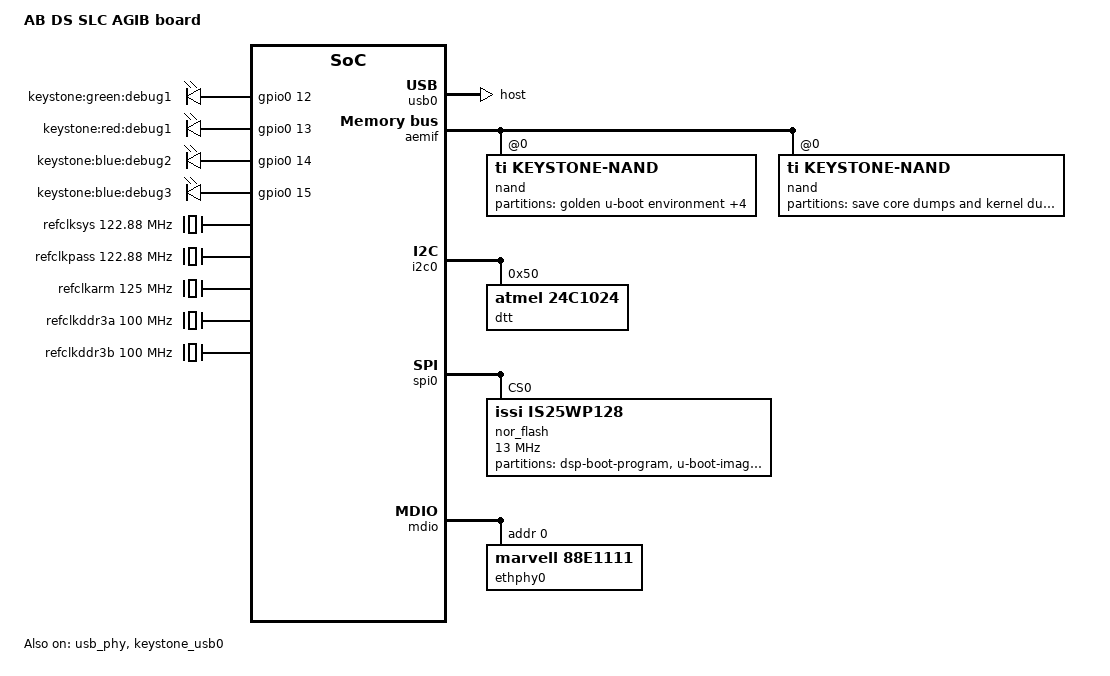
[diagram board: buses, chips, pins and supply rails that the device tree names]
// SPDX-License-Identifier: GPL-2.0
/*
 * Keystone 2 Kepler/Hawking EVM device tree
 *
 * Copyright (C) 2013-2017 Texas Instruments Incorporated - http://www.ti.com/
 */
/dts-v1/;

#include "keystone.dtsi"
#include "keystone-agib.dtsi"
#include <dt-bindings/net/ti-dp83867.h>
#include "agib-rapidio.dtsi"
#include "agib-bmuqt.dtsi"
#include "agib-lasc.dtsi"
#include "agib-tpm.dtsi"
#include "agib-rtc.dtsi"
#include "agib-reset.dtsi"
#include "agib-vgem.dtsi"

/ {
	compatible =  "ti,k2hk-evm", "ti,k2hk", "ti,keystone";
	model = "AB DS SLC AGIB board";

	reserved-memory {
		#address-cells = <2>;
		#size-cells = <2>;
		ranges;

		dsp_common_memory: dsp-common-memory@81f800000 {
			compatible = "shared-dma-pool";
			reg = <0x00000008 0x1f800000 0x00000000 0x800000>;
			reusable;
			status = "okay";
		};
	};

	leds {
		compatible = "gpio-leds";
		debug1_1 {
			label = "keystone:green:debug1";
			gpios = <&gpio0 12 GPIO_ACTIVE_HIGH>; /* 12 */
		};

		debug1_2 {
			label = "keystone:red:debug1";
			gpios = <&gpio0 13 GPIO_ACTIVE_HIGH>; /* 13 */
		};

		debug2 {
			label = "keystone:blue:debug2";
			gpios = <&gpio0 14 GPIO_ACTIVE_HIGH>; /* 14 */
		};

		debug3 {
			label = "keystone:blue:debug3";
			gpios = <&gpio0 15 GPIO_ACTIVE_HIGH>; /* 15 */
		};
	};
};

&soc0 {
		clocks {
			refclksys: refclksys {
				#clock-cells = <0>;
				compatible = "fixed-clock";
				clock-frequency = <122880000>;
				clock-output-names = "refclk-sys";
			};

			refclkpass: refclkpass {
				#clock-cells = <0>;
				compatible = "fixed-clock";
				clock-frequency = <122880000>;
				clock-output-names = "refclk-pass";
			};

			refclkarm: refclkarm {
				#clock-cells = <0>;
				compatible = "fixed-clock";
				clock-frequency = <125000000>;
				clock-output-names = "refclk-arm";
			};

			refclkddr3a: refclkddr3a {
				#clock-cells = <0>;
				compatible = "fixed-clock";
				clock-frequency = <100000000>;
				clock-output-names = "refclk-ddr3a";
			};

			refclkddr3b: refclkddr3b {
				#clock-cells = <0>;
				compatible = "fixed-clock";
				clock-frequency = <100000000>;
				clock-output-names = "refclk-ddr3b";
			};
		};
};

/omit-if-no-ref/ &clkgem0;

&usb_phy {
	status = "okay";
};

&keystone_usb0 {
	status = "okay";
};

&usb0 {
	dr_mode = "host";
};

&aemif {
	cs0 {
		#address-cells = <2>;
		#size-cells = <1>;
		clock-ranges;
		ranges;

		ti,cs-chipselect = <0>;
		/* all timings in nanoseconds */
		ti,cs-min-turnaround-ns = <12>;
		ti,cs-read-hold-ns = <6>;
		ti,cs-read-strobe-ns = <23>;
		ti,cs-read-setup-ns = <9>;
		ti,cs-write-hold-ns = <8>;
		ti,cs-write-strobe-ns = <23>;
		ti,cs-write-setup-ns = <8>;

		nand@0,0 {
			compatible = "ti,keystone-nand","ti,davinci-nand";
			#address-cells = <1>;
			#size-cells = <1>;
			reg = <0 0 0x4000000 //	EMIF16 CE0 space is at	offset 0x0 and has a length of 0x4000000
			       1 0 0x0000100>;

			ti,davinci-chipselect = <0>;
			ti,davinci-mask-ale = <0x2000>;
			ti,davinci-mask-cle = <0x4000>;
			ti,davinci-mask-chipsel = <0>;
			nand-ecc-mode = "hw";
			ti,davinci-ecc-bits = <4>;
			nand-on-flash-bbt;

			partition@0 {
				label = "golden u-boot environment";
				reg = <0x0 0x40000>; // One erase sector : 256KB
				read-only;
			};

			partition@1 {
				label = "default u-boot environment";
				reg = <0x00040000 0x00040000>; // One erase sector : 256KB
			};

			partition@2 {
				label = "temporary files";
				reg = <0x00080000 0x0C800000>; // 200MB
			};

			partition@3 {
				label = "run-time files";
				reg = <0x0C880000 0x12c00000>; // 300MB
			};

			partition@4 {
				label = "run-time files and logs";
				reg = <0x1f480000 0x20b80000>; // 1GB - 300MB - 200MB - 512KB
			};
		};
	};

	cs1 {
		#address-cells = <2>;
		#size-cells = <1>;
		clock-ranges;
		ranges;

		ti,cs-chipselect = <1>;
		/* all timings in nanoseconds */
		ti,cs-min-turnaround-ns = <12>;
		ti,cs-read-hold-ns = <6>;
		ti,cs-read-strobe-ns = <23>;
		ti,cs-read-setup-ns = <9>;
		ti,cs-write-hold-ns = <8>;
		ti,cs-write-strobe-ns = <23>;
		ti,cs-write-setup-ns = <8>;

		nand@1,1 {
			compatible = "ti,keystone-nand","ti,davinci-nand";
			#address-cells = <1>;
			#size-cells = <1>;
			reg = <0 0x4000000 0x4000000 // EMIF16 CE1 space is at offset 0x4000000 and has a length of 0x4000000
			       1 0 0x0000100>;

			ti,davinci-chipselect = <1>;
			ti,davinci-mask-ale = <0x2000>;
			ti,davinci-mask-cle = <0x4000>;
			ti,davinci-mask-chipsel = <0>;
			nand-ecc-mode = "hw";
			ti,davinci-ecc-bits = <4>;
			nand-on-flash-bbt;

			partition@0 {
				label = "save core dumps and kernel dumps";
				reg = <0x0 0x40000000>; // The whole chip 1GB
			};
		};
	};
};

&i2c0 {
	dtt@50 {
		compatible = "atmel,24c1024";
		reg = <0x50>;
	};
};

&spi0 {
	nor_flash: is25wp128@0 {
		#address-cells = <1>;
		#size-cells = <1>;
		compatible = "issi,is25wp128", "jedec,spi-nor";
		spi-max-frequency = <13000000>;
		m25p,fast-read;
		reg = <0>;

		partition@0 {
			label = "dsp-boot-program";
			reg = <0x0 0x800000>;
			read-only;
		};

		partition@1 {
			label = "u-boot-image";
			reg = <0x800000 0x600000>;
		};

		partition@2 {
			label = "boot certs";
			reg = <0xe00000 0x100000>;
		};

		partition@3 {
			label = "crtm creds";
			reg = <0xf00000 0x100000>;
		};
	};
};

&mdio {
	status = "ok";
	ethphy0: ethernet-phy@0 {
		compatible = "marvell,88E1111", "ethernet-phy-ieee802.3-c22";
		ti,fifo-depth = <DP83867_PHYCR_FIFO_DEPTH_8_B_NIB>;
		reg = <0>;
	};

//	ethphy1: ethernet-phy@1 {
//		compatible = "marvell,88E1111", "ethernet-phy-ieee802.3-c22";
//		ti,fifo-depth = <DP83867_PHYCR_FIFO_DEPTH_8_B_NIB>;
//		reg = <1>;
//	};
};

&netcp {
       netcp-interfaces {
               interface-0 {
                       efuse-mac = <0>;
                       local-mac-address = [00 00 00 00 00 00];
               };
       };
};
